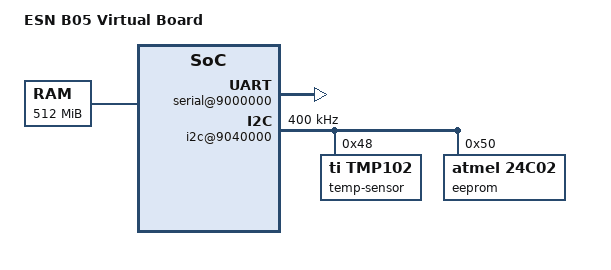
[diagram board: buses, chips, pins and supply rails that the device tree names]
/dts-v1/;

/memreserve/	0x000000005ff00000 0x0000000000100000;
/ {
	model = "ESN B05 Virtual Board";
	compatible = "esn,b05-board";
	#address-cells = <0x02>;
	#size-cells = <0x02>;
	interrupt-parent = <0x01>;

	chosen {
		bootargs = "console=ttyAMA0,115200 root=/dev/vda rw";
		stdout-path = "serial0:115200n8";
	};

	aliases {
		serial0 = "/soc@0/serial@9000000";
		i2c0 = "/soc@0/i2c@9040000";
	};

	cpus {
		#address-cells = <0x01>;
		#size-cells = <0x00>;

		cpu@0 {
			device_type = "cpu";
			compatible = "arm,cortex-a53";
			reg = <0x00>;
		};

		cpu@1 {
			device_type = "cpu";
			compatible = "arm,cortex-a53";
			reg = <0x01>;
		};
	};

	memory@40000000 {
		device_type = "memory";
		reg = <0x00 0x40000000 0x00 0x20000000>;
	};

	interrupt-controller@8000000 {
		compatible = "arm,gic-400";
		reg = <0x00 0x8000000 0x00 0x1000 0x00 0x8010000 0x00 0x2000>;
		#interrupt-cells = <0x03>;
		interrupt-controller;
		phandle = <0x01>;
	};

	soc@0 {
		compatible = "simple-bus";
		#address-cells = <0x01>;
		#size-cells = <0x01>;
		ranges = <0x00 0x00 0x00 0x10000000>;

		serial@9000000 {
			compatible = "arm,pl011", "arm,primecell";
			reg = <0x9000000 0x1000>;
			interrupts = <0x00 0x01 0x04>;
			status = "okay";
		};

		gpio@9030000 {
			compatible = "arm,pl061", "arm,primecell";
			reg = <0x9030000 0x1000>;
			interrupts = <0x00 0x07 0x04>;
			gpio-controller;
			#gpio-cells = <0x02>;
			interrupt-controller;
			#interrupt-cells = <0x02>;
			phandle = <0x02>;
		};

		i2c@9040000 {
			compatible = "esn,b05-i2c";
			reg = <0x9040000 0x1000>;
			interrupts = <0x00 0x08 0x04>;
			clock-frequency = <0x61a80>;
			#address-cells = <0x01>;
			#size-cells = <0x00>;

			temp-sensor@48 {
				compatible = "ti,tmp102";
				reg = <0x48>;
				interrupt-parent = <0x02>;
				interrupts = <0x05 0x02>;
			};

			eeprom@50 {
				compatible = "atmel,24c02";
				reg = <0x50>;
				pagesize = <0x08>;
			};
		};

		ethernet@9050000 {
			compatible = "esn,b05-eth";
			reg = <0x9050000 0x1000>;
			local-mac-address = [02 00 5e 10 00 01];
			status = "disabled";
		};
	};
};
